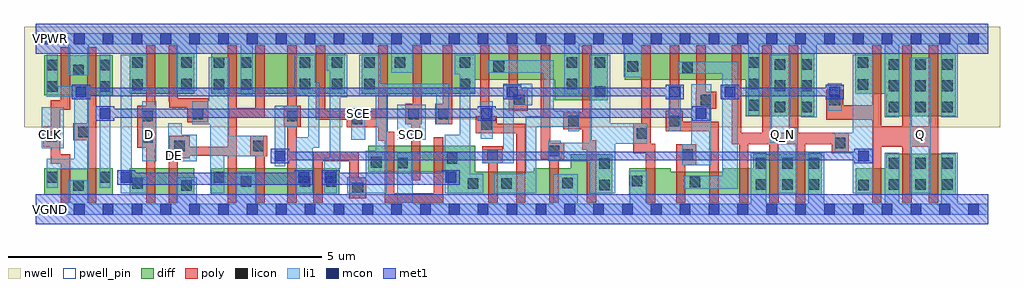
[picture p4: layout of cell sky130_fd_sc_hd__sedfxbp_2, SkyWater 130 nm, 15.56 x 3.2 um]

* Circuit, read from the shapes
.subckt sky130_fd_sc_hd__sedfxbp_2 CLK D DE Q Q_N SCD SCE VGND VPB VPWR
XM1 VGND CLK n1 VSUBS sky130_fd_pr__nfet_01v8 w=0.42 l=0.15
XM2 n2 n1 VGND VSUBS sky130_fd_pr__nfet_01v8 w=0.42 l=0.15
XM3 n3 D n4 VSUBS sky130_fd_pr__nfet_01v8 w=0.42 l=0.15
XM4 VGND DE n3 VSUBS sky130_fd_pr__nfet_01v8 w=0.42 l=0.15
XM5 VGND DE n5 VSUBS sky130_fd_pr__nfet_01v8 w=0.42 l=0.15
XM6 n6 n5 VGND VSUBS sky130_fd_pr__nfet_01v8 w=0.42 l=0.15
XM7 n4 n7 n6 VSUBS sky130_fd_pr__nfet_01v8 w=0.42 l=0.15
XM8 n8 n9 n4 VSUBS sky130_fd_pr__nfet_01v8 w=0.42 l=0.15
XM9 VGND SCE n9 VSUBS sky130_fd_pr__nfet_01v8 w=0.42 l=0.15
XM10 n10 SCD VGND VSUBS sky130_fd_pr__nfet_01v8 w=0.42 l=0.15
XM11 n8 SCE n10 VSUBS sky130_fd_pr__nfet_01v8 w=0.42 l=0.15
XM12 n11 n1 n8 VSUBS sky130_fd_pr__nfet_01v8 w=0.36 l=0.15
XM13 n12 n2 n11 VSUBS sky130_fd_pr__nfet_01v8 w=0.36 l=0.15
XM14 VGND n13 n12 VSUBS sky130_fd_pr__nfet_01v8 w=0.42 l=0.15
XM15 n13 n11 VGND VSUBS sky130_fd_pr__nfet_01v8 w=0.64 l=0.15
XM16 n14 n13 VGND VSUBS sky130_fd_pr__nfet_01v8 w=0.42 l=0.15
XM17 n15 n2 n14 VSUBS sky130_fd_pr__nfet_01v8 w=0.36 l=0.15
XM18 n16 n1 n15 VSUBS sky130_fd_pr__nfet_01v8 w=0.36 l=0.15
XM19 VGND n7 n16 VSUBS sky130_fd_pr__nfet_01v8 w=0.42 l=0.15
XM20 Q_N n7 VGND VSUBS sky130_fd_pr__nfet_01v8 w=0.65 l=0.15 m=2
XM21 VGND n15 n7 VSUBS sky130_fd_pr__nfet_01v8 w=0.42 l=0.15
XM22 Q n15 VGND VSUBS sky130_fd_pr__nfet_01v8 w=0.65 l=0.15 m=2
XM23 VPWR CLK n1 VPB sky130_fd_pr__pfet_01v8 w=0.64 l=0.15
XM24 n2 n1 VPWR VPB sky130_fd_pr__pfet_01v8 w=0.64 l=0.15
XM25 n17 D n4 VPB sky130_fd_pr__pfet_01v8 w=0.64 l=0.15
XM26 VPWR n5 n17 VPB sky130_fd_pr__pfet_01v8 w=0.64 l=0.15
XM27 VPWR DE n5 VPB sky130_fd_pr__pfet_01v8 w=0.64 l=0.15
XM28 n18 DE VPWR VPB sky130_fd_pr__pfet_01v8 w=0.64 l=0.15
XM29 n4 n7 n18 VPB sky130_fd_pr__pfet_01v8 w=0.64 l=0.15
XM30 n8 SCE n4 VPB sky130_fd_pr__pfet_01v8 w=0.64 l=0.15
XM31 VPWR SCE n9 VPB sky130_fd_pr__pfet_01v8 w=0.64 l=0.15
XM32 n19 SCD VPWR VPB sky130_fd_pr__pfet_01v8 w=0.64 l=0.15
XM33 n8 n9 n19 VPB sky130_fd_pr__pfet_01v8 w=0.64 l=0.15
XM34 n11 n2 n8 VPB sky130_fd_pr__pfet_01v8 w=0.42 l=0.15
XM35 n20 n1 n11 VPB sky130_fd_pr__pfet_01v8 w=0.42 l=0.15
XM36 VPWR n13 n20 VPB sky130_fd_pr__pfet_01v8 w=0.42 l=0.15
XM37 n13 n11 VPWR VPB sky130_fd_pr__pfet_01v8 w=0.75 l=0.15
XM38 n21 n13 VPWR VPB sky130_fd_pr__pfet_01v8 w=0.42 l=0.15
XM39 n15 n1 n21 VPB sky130_fd_pr__pfet_01v8 w=0.42 l=0.15
XM40 n22 n2 n15 VPB sky130_fd_pr__pfet_01v8 w=0.42 l=0.15
XM41 VPWR n7 n22 VPB sky130_fd_pr__pfet_01v8 w=0.42 l=0.15
XM42 Q_N n7 VPWR VPB sky130_fd_pr__pfet_01v8 w=1 l=0.15 m=2
XM43 VPWR n15 n7 VPB sky130_fd_pr__pfet_01v8 w=0.64 l=0.15
XM44 Q n15 VPWR VPB sky130_fd_pr__pfet_01v8 w=1 l=0.15 m=2
.ends

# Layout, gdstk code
import gdstk
lib = gdstk.Library(unit=1e-6, precision=1e-09)
def R(c, l, rs):  # rectangles x0, y0, x1, y1
    for r in rs: c.add(gdstk.rectangle(r[:2], r[2:], *l))
def A(c, l, x, y, w, h, nx, ny, dx, dy):  # array of equal rectangles
    R(c, l, [(x+i*dx, y+j*dy, x+i*dx+w, y+j*dy+h) for i in range(nx) for j in range(ny)])
def P(c, l, *ps):  # polygons
    for p in ps: c.add(gdstk.Polygon(p, *l))
nwell = (64, 20)
diff = (65, 20)
poly = (66, 20)
licon = (66, 44)
li1 = (67, 20)
mcon = (67, 44)
met1 = (68, 20)
pwell_pin = (122, 16)

sky130_fd_sc_hd__sedfxbp = lib.new_cell('sky130_fd_sc_hd__sedfxbp_2')
P(sky130_fd_sc_hd__sedfxbp, nwell, [(15.37,2.91),(-0.19,2.91),(-0.19,1.305),(4.885,1.305),(4.885,1.435),(7.2,1.435),(7.2,1.305),(15.37,1.305)])
R(sky130_fd_sc_hd__sedfxbp, diff, [(0.135,0.235,1.225,0.655), (1.495,0.235,2.525,0.655), (2.795,0.235,4.835,0.655), (0.135,1.815,1.225,2.455), (1.495,1.845,2.525,2.485), (2.795,1.845,4.925,2.485)])
P(sky130_fd_sc_hd__sedfxbp, diff, [(9.12,2.485),(5.195,2.485),(5.195,1.845),(7.005,1.845),(7.005,2.065),(8.275,2.065),(8.275,1.735),(9.12,1.735)],
  [(9.19,0.875),(8.53,0.875),(8.53,0.655),(7.935,0.655),(7.935,0.595),(7.005,0.595),(7.005,1.015),(5.3,1.015),(5.3,0.595),(6.565,0.595),(6.565,0.235),(9.19,0.235)],
  [(12.41,2.485),(9.39,2.485),(9.39,2.065),(11.32,2.065),(11.32,1.485),(12.41,1.485)],
  [(12.525,0.885),(11.435,0.885),(11.435,0.655),(10.96,0.655),(10.96,0.595),(10.12,0.595),(10.12,0.655),(9.46,0.655),(9.46,0.235),(12.525,0.235)],
  [(14.665,2.485),(13.06,2.485),(13.06,1.845),(13.555,1.845),(13.555,1.485),(14.665,1.485)],
  [(14.665,0.885),(13.555,0.885),(13.555,0.655),(13.07,0.655),(13.07,0.235),(14.665,0.235)])
P(sky130_fd_sc_hd__sedfxbp, poly, [(7.445,1.005),(7.115,1.005),(7.115,0.735),(7.215,0.735),(7.215,0.105),(7.365,0.105),(7.365,0.735),(7.445,0.735)],
  [(7.805,1.365),(7.345,1.365),(7.345,1.485),(7.23,1.485),(7.23,2.615),(7.08,2.615),(7.08,1.485),(7.015,1.485),(7.015,1.215),(7.655,1.215),(7.655,0.105),(7.805,0.105)],
  [(7.84,1.905),(7.685,1.905),(7.685,2.615),(7.535,2.615),(7.535,1.575),(7.84,1.575)],
  [(8.42,1.065),(8.2,1.065),(8.2,2.615),(8.05,2.615),(8.05,0.795),(8.185,0.795),(8.185,0.105),(8.335,0.105),(8.335,0.795),(8.42,0.795)],
  [(8.93,1.1),(8.86,1.1),(8.86,2.615),(8.71,2.615),(8.71,1.545),(8.41,1.545),(8.41,1.275),(8.71,1.275),(8.71,0.95),(8.78,0.95),(8.78,0.105),(8.93,0.105)],
  [(9.87,1.045),(9.8,1.045),(9.8,2.615),(9.65,2.615),(9.65,1.375),(9.525,1.375),(9.525,0.895),(9.72,0.895),(9.72,0.105),(9.87,0.105)],
  [(10.525,1.035),(10.205,1.035),(10.205,0.105),(10.355,0.105),(10.355,0.705),(10.525,0.705)],
  [(10.85,1.875),(10.675,1.875),(10.675,2.615),(10.525,2.615),(10.525,1.875),(10.52,1.875),(10.52,1.605),(10.85,1.605)],
  [(10.885,1.395),(10.31,1.395),(10.31,1.575),(10.255,1.575),(10.255,2.615),(10.105,2.615),(10.105,1.575),(10.04,1.575),(10.04,1.245),(10.735,1.245),(10.735,0.105),(10.885,0.105)],
  [(12.955,1.22),(12.15,1.22),(12.15,2.615),(12,2.615),(12,1.22),(11.73,1.22),(11.73,2.615),(11.58,2.615),(11.58,1.22),(11.245,1.22),(11.245,2.615),(11.095,2.615),(11.095,1.035),(11.21,1.035),(11.21,0.105),(11.36,0.105),(11.36,1.035),(11.695,1.035),(11.695,0.105),(11.845,0.105),(11.845,1.035),(12.115,1.035),(12.115,0.105),(12.265,0.105),(12.265,1.035),(12.685,1.035),(12.685,0.89),(12.955,0.89)],
  [(14.385,2.615),(14.235,2.615),(14.235,1.325),(13.965,1.325),(13.965,2.615),(13.815,2.615),(13.815,1.325),(13.48,1.325),(13.48,2.615),(13.33,2.615),(13.33,1.655),(12.87,1.655),(12.87,1.905),(12.6,1.905),(12.6,1.43),(13.33,1.43),(13.33,0.105),(13.48,0.105),(13.48,0.995),(13.815,0.995),(13.815,0.105),(13.965,0.105),(13.965,0.995),(14.235,0.995),(14.235,0.105),(14.385,0.105)],
  [(0.545,0.88),(0.385,0.88),(0.385,1.59),(0.545,1.59),(0.545,2.585),(0.395,2.585),(0.395,1.74),(0.235,1.74),(0.235,1.325),(0.115,1.325),(0.115,0.995),(0.235,0.995),(0.235,0.73),(0.395,0.73),(0.395,0.105),(0.545,0.105)],
  [(0.965,2.585),(0.815,2.585),(0.815,1.37),(0.595,1.37),(0.595,1.1),(0.815,1.1),(0.815,0.105),(0.965,0.105)],
  [(1.915,1.65),(1.905,1.65),(1.905,2.615),(1.755,2.615),(1.755,1.65),(1.615,1.65),(1.615,0.98),(1.755,0.98),(1.755,0.105),(1.905,0.105),(1.905,0.98),(1.915,0.98)],
  [(2.745,1.77),(2.265,1.77),(2.265,2.615),(2.115,2.615),(2.115,1.715),(2.125,1.715),(2.125,1.62),(2.415,1.62),(2.415,1.385),(2.745,1.385)],
  [(3.645,2.615),(3.495,2.615),(3.495,1.61),(3.205,1.61),(3.205,2.615),(3.055,2.615),(3.055,1),(2.455,1),(2.455,1.175),(2.125,1.175),(2.125,0.88),(2.115,0.88),(2.115,0.105),(2.265,0.105),(2.265,0.81),(2.455,0.81),(2.455,0.85),(3.055,0.85),(3.055,0.105),(3.205,0.105),(3.205,1.46),(3.645,1.46)],
  [(3.685,1.175),(3.415,1.175),(3.415,0.845),(3.495,0.845),(3.495,0.105),(3.645,0.105),(3.645,0.845),(3.685,0.845)],
  [(4.225,1.65),(4.155,1.65),(4.155,2.615),(4.005,2.615),(4.005,1.65),(3.955,1.65),(3.955,1.32),(4.005,1.32),(4.005,0.105),(4.155,0.105),(4.155,1.32),(4.225,1.32)],
  [(5.265,0.505),(5.145,0.505),(5.145,0.915),(4.425,0.915),(4.425,0.105),(4.575,0.105),(4.575,0.765),(4.995,0.765),(4.995,0.175),(5.265,0.175)],
  [(6.155,2.615),(6.005,2.615),(6.005,1.685),(5.885,1.685),(5.885,1.355),(5.98,1.355),(5.98,0.465),(6.13,0.465),(6.13,1.355),(6.155,1.355)],
  [(6.49,1.145),(6.34,1.145),(6.34,0.255),(5.71,0.255),(5.71,1.235),(5.61,1.235),(5.61,2.615),(5.46,2.615),(5.46,1.575),(4.615,1.575),(4.615,2.615),(4.465,2.615),(4.465,1.425),(4.955,1.425),(4.955,1.305),(5.46,1.305),(5.46,1.09),(5.56,1.09),(5.56,0.105),(6.49,0.105)],
  [(6.635,2.615),(6.485,2.615),(6.485,1.685),(6.365,1.685),(6.365,1.355),(6.635,1.355)])
A(sky130_fd_sc_hd__sedfxbp, licon, 11.475, 0.31, 0.17, 0.17, 3, 2, 0.42, 0.34)
A(sky130_fd_sc_hd__sedfxbp, licon, 11.78, 1.545, 0.17, 0.17, 1, 3, 0, 0.34)
A(sky130_fd_sc_hd__sedfxbp, licon, 12.2, 1.545, 0.17, 0.17, 1, 3, 0, 0.34)
A(sky130_fd_sc_hd__sedfxbp, licon, 13.595, 1.545, 0.17, 0.17, 1, 3, 0, 0.34)
A(sky130_fd_sc_hd__sedfxbp, licon, 14.015, 1.545, 0.17, 0.17, 1, 3, 0, 0.34)
A(sky130_fd_sc_hd__sedfxbp, licon, 14.445, 1.545, 0.17, 0.17, 1, 3, 0, 0.34)
A(sky130_fd_sc_hd__sedfxbp, licon, 11.36, 1.575, 0.17, 0.17, 1, 3, 0, 0.34)
R(sky130_fd_sc_hd__sedfxbp, licon, [(5.045,0.255,5.215,0.425), (0.595,0.295,0.765,0.465), (2.315,0.295,2.485,0.465), (13.11,0.3,13.28,0.47), (8.98,0.305,9.15,0.475), (13.595,0.31,13.765,0.48), (14.015,0.31,14.185,0.48), (14.445,0.31,14.615,0.48), (6.885,0.325,7.055,0.495), (7.415,0.325,7.585,0.495), (1.535,0.33,1.705,0.5), (8.39,0.335,8.56,0.505), (10.42,0.35,10.59,0.52), (3.265,0.36,3.435,0.53), (4.205,0.36,4.375,0.53), (4.625,0.36,4.795,0.53), (9.5,0.365,9.67,0.535), (0.175,0.425,0.345,0.595), (1.015,0.425,1.185,0.595), (2.835,0.425,3.005,0.595), (8.98,0.645,9.15,0.815), (13.595,0.65,13.765,0.82), (14.015,0.65,14.185,0.82), (14.445,0.65,14.615,0.82), (5.76,0.655,5.93,0.825), (5.34,0.665,5.51,0.835), (6.55,0.73,6.72,0.9), (7.195,0.785,7.365,0.955), (10.305,0.785,10.475,0.955), (8.17,0.845,8.34,1.015), (2.205,0.925,2.375,1.095), (3.465,0.925,3.635,1.095), (12.735,0.97,12.905,1.14), (1.695,1.06,1.865,1.23), (0.165,1.075,0.335,1.245), (9.575,1.125,9.745,1.295), (0.675,1.15,0.845,1.32), (7.095,1.265,7.265,1.435), (8.49,1.325,8.66,1.495), (10.09,1.325,10.26,1.495), (5.035,1.355,5.205,1.525), (1.695,1.4,1.865,1.57), (4.005,1.4,4.175,1.57), (2.495,1.435,2.665,1.605), (5.935,1.435,6.105,1.605), (6.415,1.435,6.585,1.605), (7.62,1.655,7.79,1.825), (10.6,1.655,10.77,1.825), (12.65,1.655,12.82,1.825), (8.91,1.795,9.08,1.965), (0.175,1.875,0.345,2.045), (1.015,1.875,1.185,2.045), (1.535,1.905,1.705,2.075), (2.835,1.905,3.005,2.075), (3.265,1.905,3.435,2.075), (13.1,1.905,13.27,2.075), (2.315,1.915,2.485,2.085), (4.205,1.915,4.375,2.085), (4.715,1.915,4.885,2.085), (5.235,1.915,5.405,2.085), (6.755,1.915,6.925,2.085), (8.46,1.915,8.63,2.085), (0.595,2.135,0.765,2.305), (10.305,2.175,10.475,2.345), (7.295,2.19,7.465,2.36), (9.43,2.19,9.6,2.36), (0.175,2.215,0.345,2.385), (1.015,2.215,1.185,2.385), (1.535,2.255,1.705,2.425), (2.315,2.255,2.485,2.425), (2.835,2.255,3.005,2.425), (3.265,2.255,3.435,2.425), (4.205,2.255,4.375,2.425), (4.715,2.255,4.885,2.425), (5.235,2.255,5.405,2.425), (5.72,2.255,5.89,2.425), (6.755,2.255,6.925,2.425), (8.46,2.255,8.63,2.425), (8.91,2.255,9.08,2.425), (13.1,2.255,13.27,2.425)])
R(sky130_fd_sc_hd__sedfxbp, li1, [(13.935,0.255,14.265,2.42), (1.015,0.345,1.185,2.465), (1.695,0.765,1.915,1.72), (0.095,0.975,0.445,1.625), (5.025,1.105,5.25,1.615), (5.76,1.105,6.215,1.665), (7.095,1.125,7.28,1.72), (10.09,1.245,10.28,1.965), (12.62,1.575,12.85,2.01)])
P(sky130_fd_sc_hd__sedfxbp, li1, [(0.845,1.965),(0.345,1.965),(0.345,2.465),(0.175,2.465),(0.175,1.795),(0.615,1.795),(0.615,0.805),(0.175,0.805),(0.175,0.345),(0.345,0.345),(0.345,0.635),(0.845,0.635)],
  [(1.785,0.515),(1.525,0.515),(1.525,1.89),(1.785,1.89),(1.785,2.465),(1.355,2.465),(1.355,0.255),(1.785,0.255)],
  [(2.565,1.185),(2.325,1.185),(2.325,1.37),(2.11,1.37),(2.11,0.765),(2.565,0.765)],
  [(3.635,1.175),(3.085,1.175),(3.085,2.425),(2.755,2.425),(2.755,1.72),(2.495,1.72),(2.495,1.355),(2.78,1.355),(2.78,0.255),(3.005,0.255),(3.005,0.845),(3.635,0.845)],
  [(4.175,1.65),(3.805,1.65),(3.805,0.685),(3.975,0.685),(3.975,1.32),(4.175,1.32)],
  [(4.515,2.02),(4.455,2.02),(4.455,2.465),(4.125,2.465),(4.125,1.82),(4.345,1.82),(4.345,1.15),(4.145,1.15),(4.145,0.255),(4.415,0.255),(4.415,0.98),(4.515,0.98)],
  [(4.965,2.465),(4.635,2.465),(4.635,2.21),(4.685,2.21),(4.685,0.825),(4.595,0.825),(4.595,0.255),(4.795,0.255),(4.795,0.645),(4.855,0.645),(4.855,1.785),(4.965,1.785)],
  [(6.585,2.005),(5.495,2.005),(5.495,2.465),(5.155,2.465),(5.155,1.835),(5.42,1.835),(5.42,0.935),(5.26,0.935),(5.26,0.515),(4.965,0.515),(4.965,0.255),(5.59,0.255),(5.59,1.835),(6.385,1.835),(6.385,1.355),(6.585,1.355)],
  [(7.135,0.565),(6.925,0.565),(6.925,1.865),(7.005,1.865),(7.005,2.465),(6.675,2.465),(6.675,2.15),(6.755,2.15),(6.755,1.185),(6.515,1.185),(6.515,0.255),(7.135,0.255)],
  [(7.915,2.005),(7.45,2.005),(7.45,0.955),(7.115,0.955),(7.115,0.735),(7.62,0.735),(7.62,1.655),(7.915,1.655)],
  [(8.66,1.575),(8.255,1.575),(8.255,2.375),(7.215,2.375),(7.215,2.175),(8.085,2.175),(8.085,1.485),(7.81,1.485),(7.81,0.565),(7.305,0.565),(7.305,0.255),(7.98,0.255),(7.98,1.315),(8.49,1.315),(8.49,1.245),(8.66,1.245)],
  [(9.745,1.375),(9.16,1.375),(9.16,2.465),(8.83,2.465),(8.83,1.065),(8.37,1.065),(8.37,1.095),(8.17,1.095),(8.17,0.765),(8.83,0.765),(8.83,0.255),(9.235,0.255),(9.235,1.045),(9.745,1.045)],
  [(10.77,1.995),(10.45,1.995),(10.45,1.035),(10.305,1.035),(10.305,0.705),(10.77,0.705)],
  [(11.19,2.355),(10.225,2.355),(10.225,2.165),(10.94,2.165),(10.94,0.535),(10.325,0.535),(10.325,0.33),(11.19,0.33)],
  [(15.18,0.085),(14.695,0.085),(14.695,0.9),(14.435,0.9),(14.435,0.085),(13.765,0.085),(13.765,0.9),(13.53,0.9),(13.53,0.085),(12.565,0.085),(12.565,0.9),(12.315,0.9),(12.315,0.085),(11.645,0.085),(11.645,0.9),(11.395,0.9),(11.395,0.085),(9.74,0.085),(9.74,0.615),(9.465,0.615),(9.465,0.085),(8.64,0.085),(8.64,0.56),(8.245,0.56),(8.245,0.085),(6.01,0.085),(6.01,0.905),(5.76,0.905),(5.76,0.085),(3.515,0.085),(3.515,0.61),(3.185,0.61),(3.185,0.085),(2.565,0.085),(2.565,0.515),(2.235,0.515),(2.235,0.085),(0.845,0.085),(0.845,0.465),(0.515,0.465),(0.515,0.085),(0,0.085),(0,-0.085),(15.18,-0.085)],
  [(12.145,1.3),(12.03,1.3),(12.03,2.465),(11.7,2.465),(11.7,1.065),(11.815,1.065),(11.815,0.255),(12.145,0.255)],
  [(13.36,2.465),(13.02,2.465),(13.02,1.22),(12.735,1.22),(12.735,0.89),(13.02,0.89),(13.02,0.255),(13.36,0.255)],
  [(15.18,2.805),(0,2.805),(0,2.635),(0.515,2.635),(0.515,2.135),(0.845,2.135),(0.845,2.635),(2.235,2.635),(2.235,1.89),(2.565,1.89),(2.565,2.635),(3.265,2.635),(3.265,1.825),(3.46,1.825),(3.46,2.635),(5.665,2.635),(5.665,2.175),(6.01,2.175),(6.01,2.635),(8.425,2.635),(8.425,1.835),(8.66,1.835),(8.66,2.635),(9.37,2.635),(9.37,2.105),(9.66,2.105),(9.66,2.635),(11.36,2.635),(11.36,1.495),(11.53,1.495),(11.53,2.635),(12.2,2.635),(12.2,1.465),(12.45,1.465),(12.45,2.635),(13.53,2.635),(13.53,1.465),(13.765,1.465),(13.765,2.635),(14.435,2.635),(14.435,1.465),(14.695,1.465),(14.695,2.635),(15.18,2.635)])
A(sky130_fd_sc_hd__sedfxbp, mcon, 0.145, -0.085, 0.17, 0.17, 33, 2, 0.46, 2.72)
R(sky130_fd_sc_hd__sedfxbp, mcon, [(1.355,0.425,1.525,0.595), (4.185,0.425,4.355,0.595), (4.615,0.425,4.785,0.595), (6.53,0.425,6.7,0.595), (3.805,0.765,3.975,0.935), (13.11,0.765,13.28,0.935), (1.015,1.445,1.185,1.615), (7.1,1.445,7.27,1.615), (10.52,1.445,10.69,1.615), (0.635,1.785,0.805,1.955), (7.51,1.785,7.68,1.955), (10.1,1.785,10.27,1.955), (10.98,1.785,11.15,1.955), (12.65,1.785,12.82,1.955)])
R(sky130_fd_sc_hd__sedfxbp, met1, [(0,-0.24,15.18,0.24), (0,2.48,15.18,2.96)])
P(sky130_fd_sc_hd__sedfxbp, met1, [(10.33,1.985),(10.04,1.985),(10.04,1.94),(7.74,1.94),(7.74,1.985),(7.45,1.985),(7.45,1.94),(0.865,1.94),(0.865,1.985),(0.575,1.985),(0.575,1.755),(0.865,1.755),(0.865,1.8),(7.45,1.8),(7.45,1.755),(7.74,1.755),(7.74,1.8),(10.04,1.8),(10.04,1.755),(10.33,1.755)],
  [(6.76,0.625),(6.47,0.625),(6.47,0.58),(4.845,0.58),(4.845,0.625),(4.555,0.625),(4.555,0.395),(6.76,0.395)],
  [(4.415,0.625),(4.125,0.625),(4.125,0.58),(1.585,0.58),(1.585,0.625),(1.295,0.625),(1.295,0.395),(4.415,0.395)],
  [(10.75,1.645),(10.46,1.645),(10.46,1.6),(7.33,1.6),(7.33,1.645),(7.04,1.645),(7.04,1.6),(1.245,1.6),(1.245,1.645),(0.955,1.645),(0.955,1.415),(1.245,1.415),(1.245,1.46),(7.04,1.46),(7.04,1.415),(7.33,1.415),(7.33,1.46),(10.46,1.46),(10.46,1.415),(10.75,1.415)],
  [(12.88,1.985),(12.59,1.985),(12.59,1.94),(11.21,1.94),(11.21,1.985),(10.92,1.985),(10.92,1.755),(11.21,1.755),(11.21,1.8),(12.59,1.8),(12.59,1.755),(12.88,1.755)],
  [(13.34,0.965),(13.05,0.965),(13.05,0.92),(4.035,0.92),(4.035,0.965),(3.745,0.965),(3.745,0.735),(4.035,0.735),(4.035,0.78),(13.05,0.78),(13.05,0.735),(13.34,0.735)])
R(sky130_fd_sc_hd__sedfxbp, pwell_pin, [(0.145,-0.085,0.315,0.085), (0.145,-0.085,0.315,0.085)])
sky130_fd_sc_hd__sedfxbp.add(gdstk.Label('VPWR', (0.23,2.72), layer=68, texttype=5))
sky130_fd_sc_hd__sedfxbp.add(gdstk.Label('VGND', (0.23,0), layer=68, texttype=5))
sky130_fd_sc_hd__sedfxbp.add(gdstk.Label('CLK', (0.23,1.19), layer=67, texttype=5))
sky130_fd_sc_hd__sedfxbp.add(gdstk.Label('Q_N', (11.91,1.19), layer=67, texttype=5))
sky130_fd_sc_hd__sedfxbp.add(gdstk.Label('SCD', (5.98,1.19), layer=67, texttype=5))
sky130_fd_sc_hd__sedfxbp.add(gdstk.Label('DE', (2.215,0.85), layer=67, texttype=5))
sky130_fd_sc_hd__sedfxbp.add(gdstk.Label('D', (1.805,1.19), layer=67, texttype=5))
sky130_fd_sc_hd__sedfxbp.add(gdstk.Label('Q', (14.1,1.19), layer=67, texttype=5))
sky130_fd_sc_hd__sedfxbp.add(gdstk.Label('SCE', (5.14,1.53), layer=67, texttype=5))
sky130_fd_sc_hd__sedfxbp.add(gdstk.Label('VPB', (0.23,2.72), layer=64, texttype=5))
sky130_fd_sc_hd__sedfxbp.add(gdstk.Label('VPB', (0.23,2.72), layer=64, texttype=5))
sky130_fd_sc_hd__sedfxbp.add(gdstk.Label('VNB', (0.23,0), layer=122, texttype=16))
sky130_fd_sc_hd__sedfxbp.add(gdstk.Label('VNB', (0.23,0), layer=122, texttype=16))
sky130_fd_sc_hd__sedfxbp.add(gdstk.Label('VNB', (0.23,0), layer=122, texttype=16))

lib.write_gds('sky130_fd_sc_hd__sedfxbp_2.gds')
